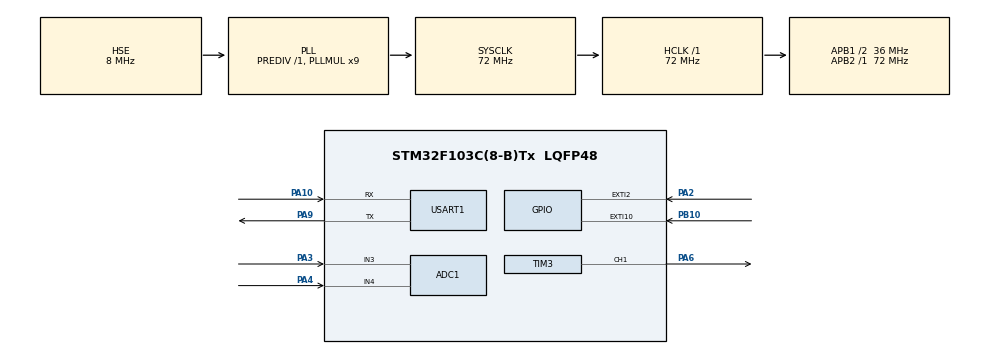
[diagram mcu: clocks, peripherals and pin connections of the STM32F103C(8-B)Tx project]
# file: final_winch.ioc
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ADC1.Channel-0\#ChannelRegularConversion=ADC_CHANNEL_3
ADC1.Channel-1\#ChannelRegularConversion=ADC_CHANNEL_3
ADC1.DiscontinuousConvMode=ENABLE
ADC1.NbrOfConversion=2
ADC1.NbrOfConversionFlag=1
ADC1.Rank-0\#ChannelRegularConversion=1
ADC1.Rank-1\#ChannelRegularConversion=2
ADC1.SamplingTime-0\#ChannelRegularConversion=ADC_SAMPLETIME_1CYCLE_5
ADC1.SamplingTime-1\#ChannelRegularConversion=ADC_SAMPLETIME_1CYCLE_5
ADC1.master=1
Dma.ADC1.0.Direction=DMA_PERIPH_TO_MEMORY
Dma.ADC1.0.Instance=DMA1_Channel1
Dma.ADC1.0.MemDataAlignment=DMA_MDATAALIGN_WORD
Dma.ADC1.0.MemInc=DMA_MINC_ENABLE
Dma.ADC1.0.Mode=DMA_CIRCULAR
Dma.ADC1.0.PeriphDataAlignment=DMA_PDATAALIGN_WORD
Dma.ADC1.0.PeriphInc=DMA_PINC_DISABLE
Dma.ADC1.0.Priority=DMA_PRIORITY_VERY_HIGH
Dma.Request0=ADC1
Mcu.Family=STM32F1
Mcu.Name=STM32F103C(8-B)Tx
Mcu.Package=LQFP48
NVIC.DMA1_Channel1_IRQn=true\:0\:0\:false\:false\:true\:false\:true
NVIC.EXTI15_10_IRQn=true\:0\:0\:false\:false\:true\:true\:true
NVIC.EXTI2_IRQn=true\:0\:0\:false\:false\:true\:true\:true
NVIC.PriorityGroup=NVIC_PRIORITYGROUP_4
PA10.Mode=Asynchronous
PA10.Signal=USART1_RX
PA13.Mode=Serial_Wire
PA13.Signal=SYS_JTMS-SWDIO
PA14.Mode=Serial_Wire
PA14.Signal=SYS_JTCK-SWCLK
PA2.GPIO_PuPd=GPIO_NOPULL
PA2.Signal=GPXTI2
PA3.Signal=ADCx_IN3
PA4.Signal=ADCx_IN4
PA6.Signal=S_TIM3_CH1
PA9.Mode=Asynchronous
PA9.Signal=USART1_TX
PB10.GPIO_PuPd=GPIO_NOPULL
PB10.Signal=GPXTI10
PD0-OSC_IN.Mode=HSE-External-Oscillator
PD0-OSC_IN.Signal=RCC_OSC_IN
PD1-OSC_OUT.Mode=HSE-External-Oscillator
PD1-OSC_OUT.Signal=RCC_OSC_OUT
ProjectManager.HeapSize=0x200
ProjectManager.StackSize=0x400
ProjectManager.TargetToolchain=STM32CubeIDE
RCC.ADCPresc=RCC_ADCPCLK2_DIV6
RCC.AHBFreq_Value=72000000
RCC.APB1CLKDivider=RCC_HCLK_DIV2
RCC.APB1Freq_Value=36000000
RCC.APB1TimFreq_Value=72000000
RCC.APB2Freq_Value=72000000
RCC.APB2TimFreq_Value=72000000
RCC.HCLKFreq_Value=72000000
RCC.PLLMUL=RCC_PLL_MUL9
RCC.PLLSourceVirtual=RCC_PLLSOURCE_HSE
RCC.SYSCLKFreq_VALUE=72000000
RCC.SYSCLKSource=RCC_SYSCLKSOURCE_PLLCLK
RCC.USBFreq_Value=72000000
SH.ADCx_IN3.0=ADC1_IN3,IN3
SH.ADCx_IN4.0=ADC1_IN4,IN4
SH.S_TIM3_CH1.0=TIM3_CH1,PWM Generation1 CH1
TIM3.Channel-PWM\ Generation1\ CH1=TIM_CHANNEL_1
USART1.VirtualMode=VM_ASYNC
VP_TIM3_VS_ClockSourceINT.Mode=Internal
board=custom

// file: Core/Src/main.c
/* USER CODE BEGIN Header */
/**
  ******************************************************************************
  * @file           : main.c
  * @brief          : Main program body
  ******************************************************************************
  * @attention
  *
  * Copyright (c) 2023 STMicroelectronics.
  * All rights reserved.
  *
  * This software is licensed under terms that can be found in the LICENSE file
  * in the root directory of this software component.
  * If no LICENSE file comes with this software, it is provided AS-IS.
  *
  ******************************************************************************
  */
/* USER CODE END Header */
#include "main.h"
#include "stm32f1xx_it.h"
#include "string.h"

/* USER CODE BEGIN PTD */
volatile int MSB, LSB, encoded;
volatile char* Current_Dir = "";
volatile int lastEncoded = 0;
volatile long encoderValue = 0;
volatile long EncoderRatio_encoder = 0;
volatile long GearRatio_encoder = 0;
int EncoderRatio = 1600;

long lastencoderValue = 0;

int lastMSB = 0;
int lastLSB = 0;

#define MAX_Tension 300
#define IDEAL_Tension 30
/* USER CODE END Includes */

/* Private typedef -----------------------------------------------------------*/
/* USER CODE BEGIN PTD */
volatile uint32_t tim1_cnt=0,direction,rise=0;

uint32_t adc_val = 0;
uint32_t buffer;
char MSG[50] = {'\0'};
//float sensitivity = 0.1; // 0.1 for 20A Model
float rawVoltage;
float current;
long val;
/* Private typedef -----------------------------------------------------------*/
/* USER CODE BEGIN PTD */

/* USER CODE END PTD */

ADC_HandleTypeDef hadc1;
DMA_HandleTypeDef hdma_adc1;

TIM_HandleTypeDef htim3;

UART_HandleTypeDef huart1;

void SystemClock_Config(void);
static void MX_GPIO_Init(void);
static void MX_ADC1_Init(void);
static void MX_TIM3_Init(void);
static void MX_DMA_Init(void);
static void MX_USART1_UART_Init(void);
/* USER CODE BEGIN PFP */
long map(long x, long in_min, long in_max, long out_min, long out_max)
{
  return (x - in_min) * (out_max - out_min) / (in_max - in_min) + out_min;
}
/* USER CODE END PFP */

int main(void)
{

  /* MCU Configuration--------------------------------------------------------*/

  /* Reset of all peripherals, Initializes the Flash interface and the Systick. */
  HAL_Init();

  /* Configure the system clock */
  SystemClock_Config();

  /* Initialize all configured peripherals */
  MX_GPIO_Init();
  MX_ADC1_Init();
  MX_TIM3_Init();
  MX_DMA_Init();
  MX_USART1_UART_Init();
  /* USER CODE BEGIN 2 */
  HAL_TIM_PWM_Start(&htim3, TIM_CHANNEL_1);
  /* USER CODE END 2 */
  HAL_ADC_Start_DMA(&hadc1, &buffer, 10);
  /* Infinite loop */
  while (1)
  {
	  HAL_Delay(100);

	   sprintf(MSG, "Ticks = %ld,  direction=%s,adc=%d,current=%f\r\n", (long)encoderValue,Current_Dir,(int)val,current);
	     HAL_UART_Transmit(&huart1, MSG, strlen((char*)MSG), 1000);
	     TIM3->CCR1=80;
  }
}

void SystemClock_Config(void)
{
  RCC_OscInitTypeDef RCC_OscInitStruct = {0};
  RCC_ClkInitTypeDef RCC_ClkInitStruct = {0};
  RCC_PeriphCLKInitTypeDef PeriphClkInit = {0};

  /** Initializes the RCC Oscillators according to the specified parameters
  * in the RCC_OscInitTypeDef structure.
  */
  RCC_OscInitStruct.OscillatorType = RCC_OSCILLATORTYPE_HSE;
  RCC_OscInitStruct.HSEState = RCC_HSE_ON;
  RCC_OscInitStruct.HSEPredivValue = RCC_HSE_PREDIV_DIV1;
  RCC_OscInitStruct.HSIState = RCC_HSI_ON;
  RCC_OscInitStruct.PLL.PLLState = RCC_PLL_ON;
  RCC_OscInitStruct.PLL.PLLSource = RCC_PLLSOURCE_HSE;
  RCC_OscInitStruct.PLL.PLLMUL = RCC_PLL_MUL9;
  if (HAL_RCC_OscConfig(&RCC_OscInitStruct) != HAL_OK)
  {
    Error_Handler();
  }
  /** Initializes the CPU, AHB and APB buses clocks
  */
  RCC_ClkInitStruct.ClockType = RCC_CLOCKTYPE_HCLK|RCC_CLOCKTYPE_SYSCLK
                              |RCC_CLOCKTYPE_PCLK1|RCC_CLOCKTYPE_PCLK2;
  RCC_ClkInitStruct.SYSCLKSource = RCC_SYSCLKSOURCE_PLLCLK;
  RCC_ClkInitStruct.AHBCLKDivider = RCC_SYSCLK_DIV1;
  RCC_ClkInitStruct.APB1CLKDivider = RCC_HCLK_DIV2;
  RCC_ClkInitStruct.APB2CLKDivider = RCC_HCLK_DIV1;

  if (HAL_RCC_ClockConfig(&RCC_ClkInitStruct, FLASH_LATENCY_2) != HAL_OK)
  {
    Error_Handler();
  }
  PeriphClkInit.PeriphClockSelection = RCC_PERIPHCLK_ADC;
  PeriphClkInit.AdcClockSelection = RCC_ADCPCLK2_DIV6;
  if (HAL_RCCEx_PeriphCLKConfig(&PeriphClkInit) != HAL_OK)
  {
    Error_Handler();
  }
}

static void MX_ADC1_Init(void)
{

  ADC_ChannelConfTypeDef sConfig = {0};

  /** Common config
  */
  hadc1.Instance = ADC1;
  hadc1.Init.ScanConvMode = ADC_SCAN_ENABLE;
  hadc1.Init.ContinuousConvMode = DISABLE;
  hadc1.Init.DiscontinuousConvMode = ENABLE;
  hadc1.Init.NbrOfDiscConversion = 1;
  hadc1.Init.ExternalTrigConv = ADC_SOFTWARE_START;
  hadc1.Init.DataAlign = ADC_DATAALIGN_RIGHT;
  hadc1.Init.NbrOfConversion = 2;
  if (HAL_ADC_Init(&hadc1) != HAL_OK)
  {
    Error_Handler();
  }
  /** Configure Regular Channel
  */
  sConfig.Channel = ADC_CHANNEL_3;
  sConfig.Rank = ADC_REGULAR_RANK_1;
  sConfig.SamplingTime = ADC_SAMPLETIME_1CYCLE_5;
  if (HAL_ADC_ConfigChannel(&hadc1, &sConfig) != HAL_OK)
  {
    Error_Handler();
  }
  /** Configure Regular Channel
  */
  sConfig.Rank = ADC_REGULAR_RANK_2;
  if (HAL_ADC_ConfigChannel(&hadc1, &sConfig) != HAL_OK)
  {
    Error_Handler();
  }

}

void HAL_ADC_ConvCpltCallback(ADC_HandleTypeDef* hadc)
{
   adc_val = buffer;
   val=map(adc_val, 0, 255,0 , 4095);
   rawVoltage = (float) val * 3.3 * 2 / 4095;
       // If rawVoltage is not 2.5Volt, multiply by a factor.In my case it is 1.035
       // This is due to tolerance in voltage divider resister & ADC accuracy
       current =((rawVoltage - 2.503)/0.185)*1000;
  // HAL_ADC_Stop_DMA(&hadc1);
}
static void MX_TIM3_Init(void)
{

  TIM_ClockConfigTypeDef sClockSourceConfig = {0};
  TIM_MasterConfigTypeDef sMasterConfig = {0};
  TIM_OC_InitTypeDef sConfigOC = {0};

  htim3.Instance = TIM3;
  htim3.Init.Prescaler = 0;
  htim3.Init.CounterMode = TIM_COUNTERMODE_UP;
  htim3.Init.Period = 65535;
  htim3.Init.ClockDivision = TIM_CLOCKDIVISION_DIV1;
  htim3.Init.AutoReloadPreload = TIM_AUTORELOAD_PRELOAD_DISABLE;
  if (HAL_TIM_Base_Init(&htim3) != HAL_OK)
  {
    Error_Handler();
  }
  sClockSourceConfig.ClockSource = TIM_CLOCKSOURCE_INTERNAL;
  if (HAL_TIM_ConfigClockSource(&htim3, &sClockSourceConfig) != HAL_OK)
  {
    Error_Handler();
  }
  if (HAL_TIM_PWM_Init(&htim3) != HAL_OK)
  {
    Error_Handler();
  }
  sMasterConfig.MasterOutputTrigger = TIM_TRGO_RESET;
  sMasterConfig.MasterSlaveMode = TIM_MASTERSLAVEMODE_DISABLE;
  if (HAL_TIMEx_MasterConfigSynchronization(&htim3, &sMasterConfig) != HAL_OK)
  {
    Error_Handler();
  }
  sConfigOC.OCMode = TIM_OCMODE_PWM1;
  sConfigOC.Pulse = 0;
  sConfigOC.OCPolarity = TIM_OCPOLARITY_HIGH;
  sConfigOC.OCFastMode = TIM_OCFAST_DISABLE;
  if (HAL_TIM_PWM_ConfigChannel(&htim3, &sConfigOC, TIM_CHANNEL_1) != HAL_OK)
  {
    Error_Handler();
  }
  HAL_TIM_MspPostInit(&htim3);

}

static void MX_USART1_UART_Init(void)
{

  huart1.Instance = USART1;
  huart1.Init.BaudRate = 115200;
  huart1.Init.WordLength = UART_WORDLENGTH_8B;
  huart1.Init.StopBits = UART_STOPBITS_1;
  huart1.Init.Parity = UART_PARITY_NONE;
  huart1.Init.Mode = UART_MODE_TX_RX;
  huart1.Init.HwFlowCtl = UART_HWCONTROL_NONE;
  huart1.Init.OverSampling = UART_OVERSAMPLING_16;
  if (HAL_UART_Init(&huart1) != HAL_OK)
  {
    Error_Handler();
  }

}

static void MX_DMA_Init(void)
{

  /* DMA controller clock enable */
  __HAL_RCC_DMA1_CLK_ENABLE();

  /* DMA interrupt init */
  /* DMA1_Channel1_IRQn interrupt configuration */
  HAL_NVIC_SetPriority(DMA1_Channel1_IRQn, 0, 0);
  HAL_NVIC_EnableIRQ(DMA1_Channel1_IRQn);

}
void updateEncoder(void)
{

//    MSB = HAL_GPIO_ReadPin(GPIOA, GPIO_PIN_2);
//    LSB = HAL_GPIO_ReadPin(GPIOB, GPIO_PIN_10);
    encoded = (MSB << 1) | LSB;
    int sum = (lastEncoded << 2) | encoded;

    if (sum == 0b1101 || sum == 0b0100 || sum == 0b0010 || sum == 0b1011)
    {
        encoderValue++;
        Current_Dir = "CCW";
    }
   if (sum == 0b1110 || sum == 0b0111 || sum == 0b0001 || sum == 0b1000)
    {
        encoderValue--;
        Current_Dir = "CW";
    }

    lastEncoded = encoded;
    EncoderRatio_encoder = encoderValue / EncoderRatio;

}

void EXTI2_IRQHandler(void)
{
  /* USER CODE BEGIN EXTI2_IRQn 0 */
	 MSB = HAL_GPIO_ReadPin(GPIOA, GPIO_PIN_2);
	   LSB = HAL_GPIO_ReadPin(GPIOB, GPIO_PIN_10);
	updateEncoder();
  /* USER CODE END EXTI2_IRQn 0 */
  HAL_GPIO_EXTI_IRQHandler(GPIO_PIN_2);
}

/**
  * @brief This function handles EXTI line[15:10] interrupts.
  */
void EXTI15_10_IRQHandler(void)
{
  /* USER CODE BEGIN EXTI15_10_IRQn 0 */
	 MSB = HAL_GPIO_ReadPin(GPIOA, GPIO_PIN_2);
	   LSB = HAL_GPIO_ReadPin(GPIOB, GPIO_PIN_10);
    updateEncoder();

  /* USER CODE END EXTI15_10_IRQn 0 */
  HAL_GPIO_EXTI_IRQHandler(GPIO_PIN_10);
}
static void MX_GPIO_Init(void)
{
  GPIO_InitTypeDef GPIO_InitStruct = {0};

  /* GPIO Ports Clock Enable */
  __HAL_RCC_GPIOD_CLK_ENABLE();
  __HAL_RCC_GPIOA_CLK_ENABLE();
  __HAL_RCC_GPIOB_CLK_ENABLE();

  /*Configure GPIO pin : PA2 */
  GPIO_InitStruct.Pin = GPIO_PIN_2;
  GPIO_InitStruct.Mode = GPIO_MODE_IT_RISING;
  GPIO_InitStruct.Pull = GPIO_NOPULL;
  HAL_GPIO_Init(GPIOA, &GPIO_InitStruct);

  /*Configure GPIO pin : PB10 */
  GPIO_InitStruct.Pin = GPIO_PIN_10;
  GPIO_InitStruct.Mode = GPIO_MODE_IT_RISING;
  GPIO_InitStruct.Pull = GPIO_NOPULL;
  HAL_GPIO_Init(GPIOB, &GPIO_InitStruct);

  /* EXTI interrupt init*/
  HAL_NVIC_SetPriority(EXTI2_IRQn, 0, 0);
  HAL_NVIC_EnableIRQ(EXTI2_IRQn);

  HAL_NVIC_SetPriority(EXTI15_10_IRQn, 0, 0);
  HAL_NVIC_EnableIRQ(EXTI15_10_IRQn);

}

void Error_Handler(void)
{
  __disable_irq();
  while (1)
  {
  }
}
